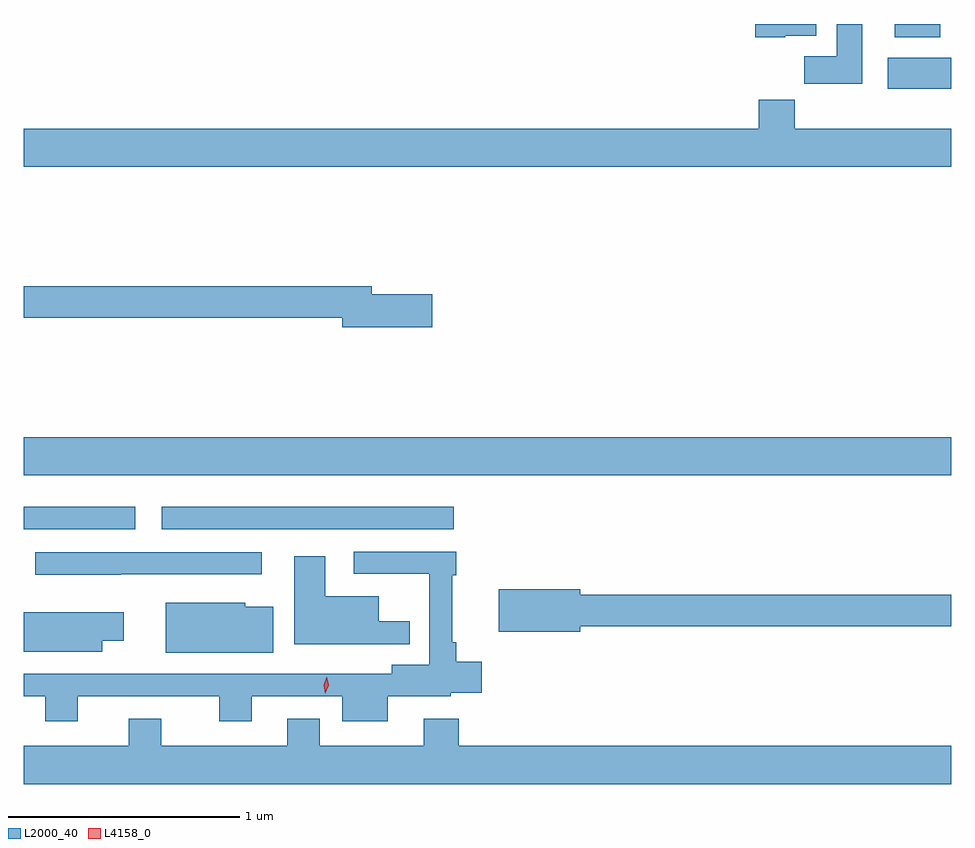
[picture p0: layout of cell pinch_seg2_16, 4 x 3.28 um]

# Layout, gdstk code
import gdstk
lib = gdstk.Library(unit=1e-6, precision=1e-09)
def R(c, l, rs):  # rectangles x0, y0, x1, y1
    for r in rs: c.add(gdstk.rectangle(r[:2], r[2:], *l))
def P(c, l, *ps):  # polygons
    for p in ps: c.add(gdstk.Polygon(p, *l))
L2000_40 = (2000, 40)
L4158_0 = (4158, 0)

pinch_seg2_16 = lib.new_cell('pinch_seg2_16')
R(pinch_seg2_16, L2000_40, [(1102.365,663.387,1102.846,663.484), (1102.959,663.387,1104.22,663.484), (1102.365,663.62,1106.365,663.784), (1106.091,665.288,1106.365,665.422), (1106.123,665.51,1106.319,665.567)])
P(pinch_seg2_16, L2000_40, [(1105.981,665.567),(1105.871,665.567),(1105.871,665.428),(1105.732,665.428),(1105.732,665.31),(1105.981,665.31)],
  [(1105.65,665.516),(1105.783,665.516),(1105.783,665.567),(1105.52,665.567),(1105.52,665.51),(1105.65,665.51)],
  [(1106.365,665.116),(1105.691,665.116),(1105.691,665.24),(1105.535,665.24),(1105.535,665.116),(1102.365,665.116),(1102.365,664.952),(1106.365,664.952)],
  [(1104.127,664.4),(1103.866,664.4),(1103.866,664.436),(1102.365,664.436),(1102.365,664.3),(1103.738,664.3),(1103.738,664.258),(1104.127,664.258)],
  [(1102.597,662.667),(1103.207,662.667),(1103.207,662.558),(1103.347,662.558),(1103.347,662.667),(1103.738,662.667),(1103.738,662.558),(1103.935,662.558),(1103.935,662.667),(1104.207,662.667),(1104.207,662.681),(1104.34,662.681),(1104.34,662.816),(1104.23,662.816),(1104.23,662.899),(1104.212,662.899),(1104.212,663.188),(1104.23,663.188),(1104.23,663.291),(1103.787,663.291),(1103.787,663.195),(1104.113,663.195),(1104.113,663.194),(1104.114,663.194),(1104.114,662.803),(1103.951,662.803),(1103.951,662.763),(1102.365,662.763),(1102.365,662.667),(1102.457,662.667),(1102.457,662.558),(1102.597,662.558)],
  [(1102.782,663.192),(1103.392,663.192),(1103.392,663.288),(1102.413,663.288),(1102.413,663.191),(1102.782,663.191)],
  [(1103.792,662.892),(1104.029,662.892),(1104.029,662.99),(1103.896,662.99),(1103.896,663.097),(1103.665,663.097),(1103.665,663.271),(1103.531,663.271),(1103.531,662.891),(1103.792,662.891)],
  [(1104.766,662.968),(1106.365,662.968),(1106.365,663.104),(1104.766,663.104),(1104.766,663.128),(1104.414,663.128),(1104.414,662.945),(1104.766,662.945)],
  [(1103.44,663.052),(1103.319,663.052),(1103.319,663.07),(1102.976,663.07),(1102.976,662.855),(1103.44,662.855)],
  [(1102.702,662.906),(1102.795,662.906),(1102.795,663.028),(1102.365,663.028),(1102.365,662.858),(1102.702,662.858)],
  [(1103.501,662.569),(1103.501,662.452),(1102.957,662.452),(1102.957,662.569),(1102.817,662.569),(1102.817,662.452),(1102.365,662.452),(1102.365,662.288),(1106.365,662.288),(1106.365,662.452),(1104.242,662.452),(1104.242,662.569),(1104.089,662.569),(1104.089,662.452),(1103.641,662.452),(1103.641,662.569)])
P(pinch_seg2_16, L4158_0, [(1103.666,662.678),(1103.666,662.679),(1103.659,662.715),(1103.672,662.75),(1103.672,662.75),(1103.672,662.75),(1103.679,662.714),(1103.666,662.679)])

lib.write_gds('pinch_seg2_16.gds')
